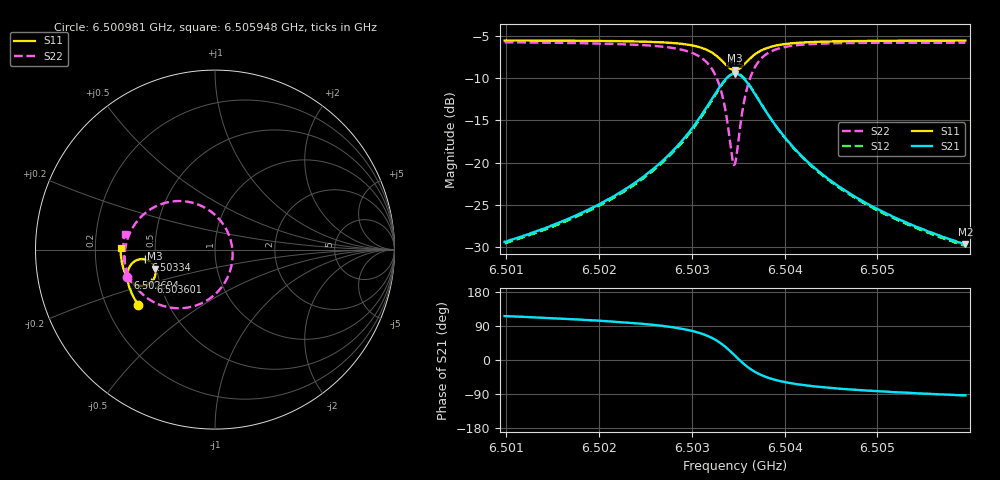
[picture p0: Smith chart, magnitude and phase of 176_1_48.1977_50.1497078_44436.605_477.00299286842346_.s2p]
#  HZ  S  RI  R  50.00
! Rohde & Schwarz Vector Network Analyzer
! Rohde-Schwarz,ZNB20-2Port,1311601062101988,3.16
! Created: UTC 3/20/2024, 11:43:55 AM
! freq[Hz]  re:S11  im:S11  re:S21  im:S21  re:S12  im:S12  re:S22  im:S22
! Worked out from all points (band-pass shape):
!   401 points, 6.500981 GHz to 6.505948 GHz, reference 50 ohm
!   highest |S21| = -9.49 dB at 6.503464 GHz (marker M1); lowest = -29.7 dB at 6.505948 GHz (marker M2)
!   |S21| within 3 dB of the highest: 6.503215 GHz to 6.503713 GHz (497.3 kHz wide, 0.00765 % of centre)
!   lowest |S11| = -9.1 dB at 6.503464 GHz (marker M3), VSWR 2.08, Z = 24.5 - j5.88 ohm
!   |S11| at or under -10 dB: nowhere
!   |S22| runs from -20.3 to -5.8 dB; largest |S21 - S12| = 0.012
!   S11 on the Smith chart (normalised r, x): 6.500981 GHz: 0.34, -0.29; 6.502694 GHz: 0.33, -0.14; 6.50334 GHz: 0.44, -0.06; 6.503601 GHz: 0.45, -0.19; 6.505948 GHz: 0.31, +0.01
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6.5009808e9  -0.4276 -0.3071  -0.0149 0.0306  -0.0132 0.0306  -0.4909 -0.151
6.5018128e9  -0.4632 -0.2453  -0.0141 0.0486  -0.0117 0.048  -0.5035 -0.0619
6.5022847e9  -0.4796 -0.2031  -0.0109 0.069  -0.00787 0.0678  -0.4997 0.00624
6.5026448e9  -0.4877 -0.1629  -0.00187 0.0981  0.00173 0.0956  -0.4798 0.0797
6.5026945e9  -0.4883 -0.1563  0.000603 0.1038  0.00428 0.101  -0.4743 0.0924
6.5029304e9  -0.485 -0.1195  0.0233 0.1402  0.0269 0.136  -0.4271 0.1664
6.5030919e9  -0.4706 -0.0873  0.0621 0.1762  0.065 0.1703  -0.3512 0.2297
6.5032409e9  -0.4332 -0.0578  0.1433 0.2047  0.1441 0.1984  -0.2033 0.2706
6.5033402e9  -0.3873 -0.0548  0.234 0.1882  0.2342 0.1832  -0.0462 0.2277
6.5034271e9  -0.3449 -0.0835  0.3116 0.1142  0.3139 0.1097  0.0774 0.082
6.503452e9  -0.3371 -0.0977  0.3247 0.0827  0.3278 0.0773  0.0941 0.0224
6.5034644e9  -0.3342 -0.1053  0.3289 0.0658  0.3323 0.0601  0.0977 -0.00874
6.5034892e9  -0.3313 -0.1213  0.3324 0.0315  0.336 0.0245  0.0951 -0.0716
6.5035265e9  -0.3335 -0.1451  0.3251 -0.0181  0.3282 -0.0272  0.0678 -0.1595
6.503601e9  -0.3556 -0.1815  0.2788 -0.0937  0.2785 -0.105  -0.0413 -0.281
6.5037128e9  -0.4007 -0.2012  0.1928 -0.1386  0.1874 -0.1483  -0.2156 -0.3267
6.5038742e9  -0.4474 -0.1916  0.1098 -0.1349  0.1027 -0.14  -0.3651 -0.2783
6.5040481e9  -0.4751 -0.1702  0.0646 -0.1142  0.0583 -0.1165  -0.4379 -0.2124
6.5042964e9  -0.496 -0.1404  0.0344 -0.0892  0.0295 -0.0898  -0.4817 -0.1393
6.5046814e9  -0.5118 -0.1  0.0147 -0.0651  0.0114 -0.0647  -0.5047 -0.0619
6.5051284e9  -0.5209 -0.0585  0.00504 -0.0488  0.00276 -0.048  -0.5105 0.00184
6.505948e9  -0.5259 0.011  -0.00191 -0.0329  -0.00337 -0.0319  -0.5028 0.0894
